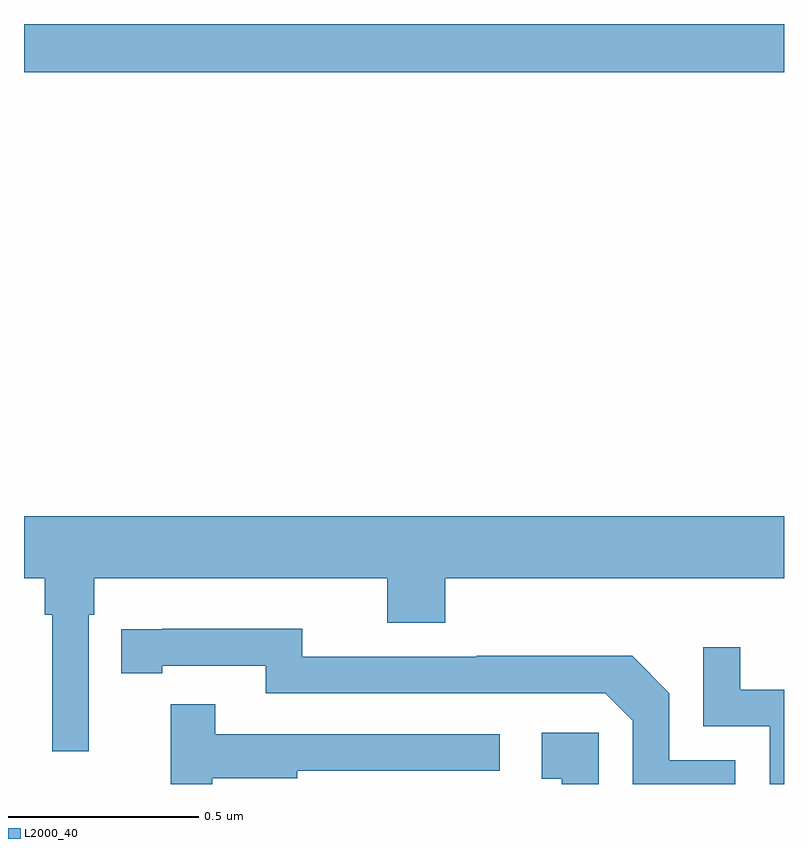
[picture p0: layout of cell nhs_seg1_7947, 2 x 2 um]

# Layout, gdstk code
import gdstk
lib = gdstk.Library(unit=1e-6, precision=1e-09)
def R(c, l, rs):  # rectangles x0, y0, x1, y1
    for r in rs: c.add(gdstk.rectangle(r[:2], r[2:], *l))
def P(c, l, *ps):  # polygons
    for p in ps: c.add(gdstk.Polygon(p, *l))
L2000_40 = (2000, 40)

nhs_seg1_7947 = lib.new_cell('nhs_seg1_7947')
R(nhs_seg1_7947, L2000_40, [(210,545.072,212,545.199)])
P(nhs_seg1_7947, L2000_40, [(210.171,543.644),(210.185,543.644),(210.185,543.74),(210.956,543.74),(210.956,543.623),(211.109,543.623),(211.109,543.74),(212,543.74),(212,543.904),(210,543.904),(210,543.74),(210.055,543.74),(210.055,543.644),(210.074,543.644),(210.074,543.285),(210.171,543.285)],
  [(211.872,543.261),(211.698,543.261),(211.698,543.438),(211.6,543.536),(211.192,543.536),(211.192,543.534),(210.732,543.534),(210.732,543.607),(210.364,543.607),(210.364,543.606),(210.256,543.606),(210.256,543.49),(210.364,543.49),(210.364,543.51),(210.636,543.51),(210.636,543.438),(211.53,543.438),(211.602,543.366),(211.602,543.199),(211.872,543.199)],
  [(212,543.447),(211.885,543.447),(211.885,543.559),(211.788,543.559),(211.788,543.351),(211.962,543.351),(211.962,543.199),(212,543.199)],
  [(210.496,543.214),(210.719,543.214),(210.719,543.234),(211.252,543.234),(211.252,543.33),(210.503,543.33),(210.503,543.409),(210.386,543.409),(210.386,543.199),(210.496,543.199)],
  [(211.512,543.334),(211.362,543.334),(211.362,543.213),(211.415,543.213),(211.415,543.199),(211.512,543.199)])

lib.write_gds('nhs_seg1_7947.gds')
